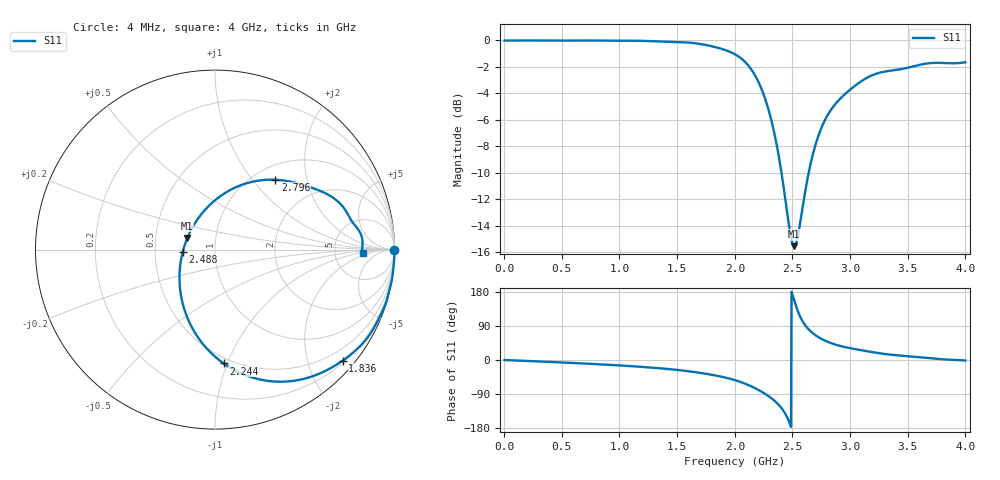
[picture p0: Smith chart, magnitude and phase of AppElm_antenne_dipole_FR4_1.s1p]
! TOUCHSTONE file generated by CST MICROWAVE STUDIO
! Date and time: Thu May 12 15:28:07 2022
! Project name: AppElm_antenne_dipole_FR4.cst
! Parameters = {L=38.8; e=0.035; f=2.45e+09; h=1.6; i=0.8; l1=3; lambda=122.449; ls=30; wl=1.7; ws=80}
! Header version: 2018
! Port assignment regex: !\s*Touchstone port\s*([0-9]+)\s*=\s*(CST MWS port|CST DS port)\s*([0-9]+|Zmin|Zmax)\s*\(\"(.*)\"\)(\s*mode\s*([0-9]+))?.*
! Touchstone port assignment:
! Touchstone port 1 = CST MWS port 1 ("")
# GHz S MA R 50
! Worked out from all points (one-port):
!   1000 points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, 4 MHz to 4 GHz, reference 50 ohm
!   lowest |S11| = -15.5 dB at 2.516 GHz (marker M1), VSWR 1.40, Z = 36.4 + j4.87 ohm
!   |S11| at or under -10 dB: 2.405 GHz to 2.641 GHz (235.5 MHz wide, 9.33 % of centre)
!   S11 on the Smith chart (normalised r, x): 4 MHz: open; 1.836 GHz: 0.24, -2.66; 2.244 GHz: 0.46, -0.97; 2.488 GHz: 0.70, -0.02; 2.796 GHz: 1.24, +1.31; 4 GHz: 10, -1
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0.004  0.9988 -0.0
0.504  0.9989 -6.5
1.004  0.9977 -14.3
1.504  0.9868 -26.3
1.672  0.9741 -32.7
1.836  0.9426 -41.0
1.928  0.9167 -47.0
2.004  0.8856 -53.4
2.136  0.7851 -68.5
2.192  0.716 -76.8
2.244  0.6359 -85.7
2.308  0.5181 -98.7
2.376  0.3776 -116.6
2.432  0.2634 -138.6
2.488  0.1798 -176.5
2.504  0.1694 168.7
2.516  0.1672 157.1
2.548  0.1835 128.2
2.6  0.2521 96.2
2.648  0.3274 78.5
2.716  0.4249 62.2
2.796  0.5139 49.2
2.888  0.5859 39.3
3.004  0.654 31.0
3.228  0.7491 19.0
3.504  0.7895 10.1
3.7  0.8216 4.7
4  0.8272 -1.2
